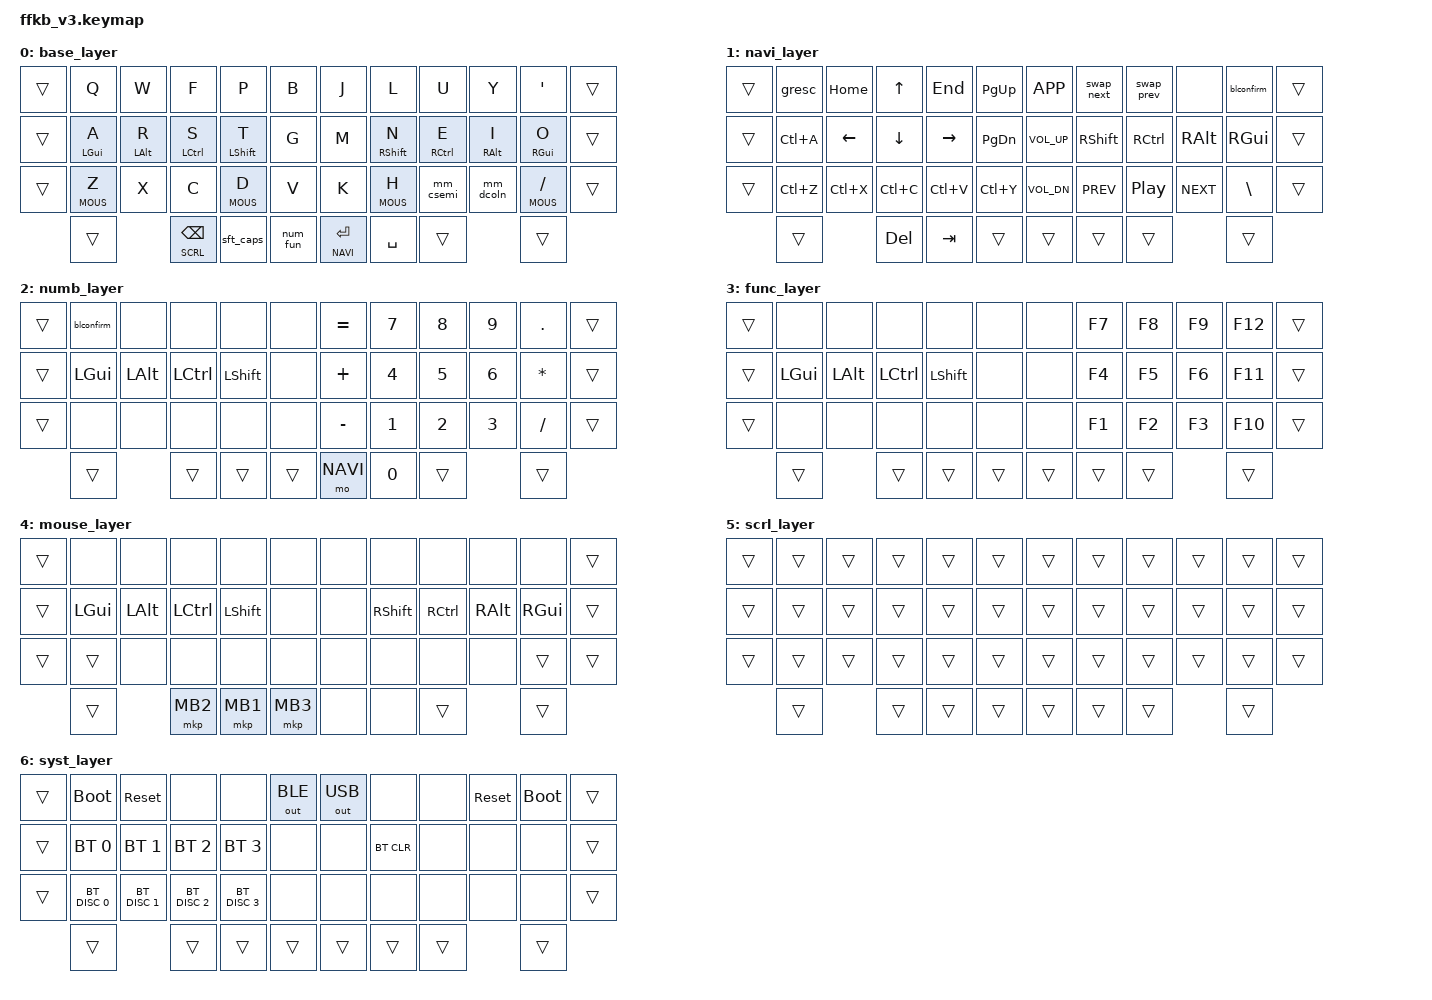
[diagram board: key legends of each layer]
/*
 * Copyright (c) 2020 The ZMK Contributors
 *
 * SPDX-License-Identifier: MIT
 */

/* upstream bindings and behaviors */
#include <behaviors.dtsi>
#include <dt-bindings/zmk/keys.h>
#include <dt-bindings/zmk/bt.h>
#include <dt-bindings/zmk/ext_power.h>
#include <dt-bindings/zmk/outputs.h>
#include <dt-bindings/zmk/mouse.h>
#include <behaviors/mouse_keys.dtsi>
 
/* layer definitions */
#define BASE 0
#define NAVI 1
#define NUMB 2
#define FUNC 3
#define MOUS 4
#define SCRL 5
#define SYST 6

/* local overlays */
#include "behaviors.dtsi"
#include "combos.dtsi"

/ {
    sensors {
        compatible = "zmk,keymap-sensors";
        sensors = <&encoder_1 &encoder_2>;
        triggers-per-rotation = <15>;
    };

    conditional_layers {
        compatible = "zmk,conditional-layers";
        tri_layer {
            if-layers = <1 2>;
            then-layer = <3>;
        };
    };

    keymap {
        compatible = "zmk,keymap";

        base_layer {
            bindings = <
    &trans          &kp Q           &kp W           &kp F           &kp P           &kp B           &kp J           &kp L           &kp U           &kp Y           &kp SQT         &trans
    &trans          &hml LGUI A     &hml LALT R     &hml LCTL S     &hml LSHIFT T   &kp G           &kp M           &hmr RSHIFT N   &hmr RCTRL E    &hmr RALT I     &hmr RGUI O     &trans
    &trans          &ltm MOUS Z     &kp X           &kp C           &ltm MOUS D     &kp V           &kp K           &ltm MOUS H     &mm_csemi       &mm_dcoln       &ltm MOUS FSLH  &trans
                    &trans                          &ltm SCRL BSPC  &sft_caps       &num_fun        &lt NAVI ENTER  &kp SPACE       &trans                          &trans
            >;
        };

        navi_layer {
            bindings = <
    &trans          &gresc          &kp HOME        &kp UP          &kp END         &kp PG_UP       &kp K_APP       &swap_next      &swap_prev      &none           &blconfirm      &trans
    &trans          &kp LC(A)       &kp LEFT        &kp DOWN        &kp RIGHT       &kp PG_DN       &kp C_VOL_UP    &kp RSHIFT      &kp RCTRL       &kp RALT        &kp RGUI        &trans
    &trans          &kp LC(Z)       &kp LC(X)       &kp LC(C)       &kp LC(V)       &kp LC(Y)       &kp C_VOL_DN    &kp C_PREV      &kp C_PP        &kp C_NEXT      &kp BSLH        &trans
                    &trans                          &kp DEL         &kp TAB         &trans          &trans          &trans          &trans                          &trans
            >;
        };

        numb_layer {
            bindings = <
    &trans          &blconfirm      &none           &none           &none           &none           &kp EQUAL       &kp N7          &kp N8          &kp N9          &kp DOT         &trans
    &trans          &kp LGUI        &kp LALT        &kp LCTRL       &kp LSHIFT      &none           &kp PLUS        &kp N4          &kp N5          &kp N6          &kp ASTRK       &trans
    &trans          &none           &none           &none           &none           &none           &kp MINUS       &kp N1          &kp N2          &kp N3          &kp FSLH        &trans
                    &trans                          &trans          &trans          &trans          &mo NAVI        &kp N0          &trans                          &trans
            >;
        };

        func_layer {
            bindings = <
    &trans          &none           &none           &none           &none           &none           &none           &kp F7          &kp F8          &kp F9          &kp F12         &trans
    &trans          &kp LGUI        &kp LALT        &kp LCTRL       &kp LSHIFT      &none           &none           &kp F4          &kp F5          &kp F6          &kp F11         &trans
    &trans          &none           &none           &none           &none           &none           &none           &kp F1          &kp F2          &kp F3          &kp F10         &trans
                    &trans                          &trans          &trans          &trans          &trans          &trans          &trans                          &trans
            >;
        };

        mouse_layer {
            bindings = <
    &trans          &none           &none           &none           &none           &none           &none           &none           &none           &none           &none           &trans
    &trans          &kp LGUI        &kp LALT        &kp LCTRL       &kp LSHIFT      &none           &none           &kp RSHIFT      &kp RCTRL       &kp RALT        &kp RGUI        &trans
    &trans          &trans          &none           &none           &none           &none           &none           &none           &none           &none           &trans          &trans
                    &trans                          &mkp MB2        &mkp MB1        &mkp MB3        &none           &none           &trans                          &trans
            >;
        };

        scrl_layer {
            bindings = <
    &trans          &trans          &trans          &trans          &trans          &trans          &trans          &trans          &trans          &trans          &trans          &trans
    &trans          &trans          &trans          &trans          &trans          &trans          &trans          &trans          &trans          &trans          &trans          &trans
    &trans          &trans          &trans          &trans          &trans          &trans          &trans          &trans          &trans          &trans          &trans          &trans
                    &trans                          &trans          &trans          &trans          &trans          &trans          &trans                          &trans
            >;
        };

        syst_layer {
            bindings = <
    &trans          &bootloader     &sys_reset      &none           &none           &out OUT_BLE    &out OUT_USB    &none           &none           &sys_reset      &bootloader     &trans
    &trans          &bt BT_SEL 0    &bt BT_SEL 1    &bt BT_SEL 2    &bt BT_SEL 3    &none           &none           &bt BT_CLR      &none           &none           &none           &trans
    &trans          &bt BT_DISC 0   &bt BT_DISC 1   &bt BT_DISC 2   &bt BT_DISC 3   &none           &none           &none           &none           &none           &none           &trans
                    &trans                          &trans          &trans          &trans          &trans          &trans          &trans                          &trans
            >;
        };
    };
};
